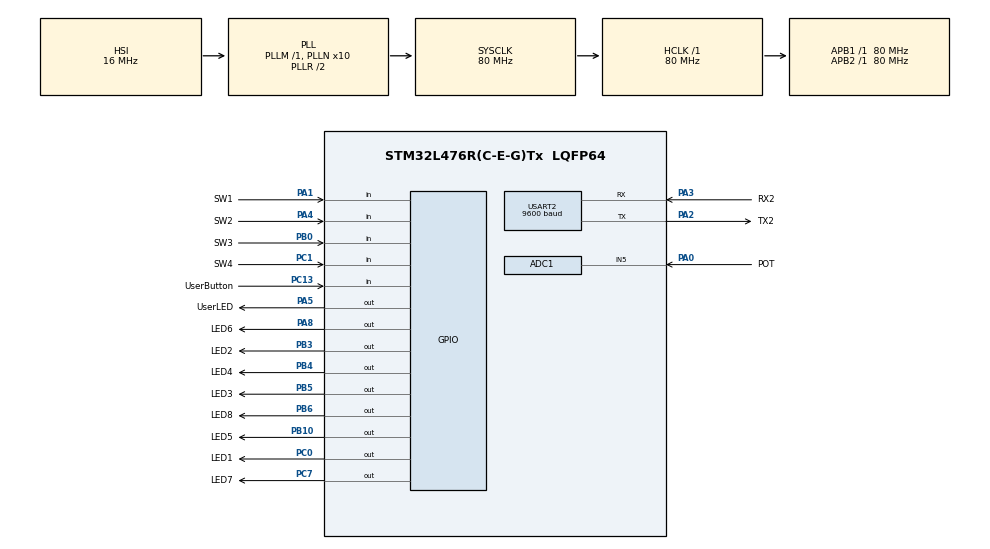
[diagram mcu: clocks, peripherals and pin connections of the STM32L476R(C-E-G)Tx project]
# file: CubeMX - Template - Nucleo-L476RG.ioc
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ADC1.Channel-0\#ChannelRegularConversion=ADC_CHANNEL_5
ADC1.NbrOfConversionFlag=1
ADC1.OffsetNumber-0\#ChannelRegularConversion=ADC_OFFSET_NONE
ADC1.Overrun=ADC_OVR_DATA_OVERWRITTEN
ADC1.Rank-0\#ChannelRegularConversion=1
ADC1.Resolution=ADC_RESOLUTION_12B
ADC1.SamplingTime-0\#ChannelRegularConversion=ADC_SAMPLETIME_2CYCLES_5
ADC1.master=1
FREERTOS.Mutexes01=usart2Mutex,Dynamic,NULL
FREERTOS.Tasks01=buttonReadThrea,8,128,ButtonRead,Default,NULL,Dynamic,NULL,NULL
FREERTOS.Timers01=softwareTimer,SoftwareTimerCallback,osTimerOnce,Default,NULL,Dynamic,NULL
FREERTOS.configUSE_NEWLIB_REENTRANT=0
Mcu.Family=STM32L4
Mcu.Name=STM32L476R(C-E-G)Tx
Mcu.Package=LQFP64
NVIC.PriorityGroup=NVIC_PRIORITYGROUP_4
NVIC.TIM6_DAC_IRQn=true\:15\:0\:false\:false\:true\:false\:false\:true\:true
NVIC.TimeBase=TIM6_DAC_IRQn
NVIC.TimeBaseIP=TIM6
PA0.GPIO_Label=POT
PA0.Signal=ADCx_IN5
PA1.GPIO_Label=SW1
PA1.Signal=GPIO_Input
PA13\ (JTMS-SWDIO).GPIO_Label=TMS
PA13\ (JTMS-SWDIO).Mode=Serial_Wire
PA13\ (JTMS-SWDIO).Signal=SYS_JTMS-SWDIO
PA14\ (JTCK-SWCLK).GPIO_Label=TCK
PA14\ (JTCK-SWCLK).Mode=Serial_Wire
PA14\ (JTCK-SWCLK).Signal=SYS_JTCK-SWCLK
PA2.GPIO_Label=TX2
PA2.GPIO_Mode=GPIO_MODE_AF_PP
PA2.GPIO_PuPd=GPIO_NOPULL
PA2.GPIO_Speed=GPIO_SPEED_FREQ_VERY_HIGH
PA2.Mode=Asynchronous
PA2.Signal=USART2_TX
PA3.GPIO_Label=RX2
PA3.GPIO_Mode=GPIO_MODE_AF_PP
PA3.GPIO_PuPd=GPIO_NOPULL
PA3.GPIO_Speed=GPIO_SPEED_FREQ_VERY_HIGH
PA3.Mode=Asynchronous
PA3.Signal=USART2_RX
PA4.GPIO_Label=SW2
PA4.Signal=GPIO_Input
PA5.GPIO_Label=UserLED
PA5.GPIO_ModeDefaultOutputPP=GPIO_MODE_OUTPUT_PP
PA5.GPIO_PuPd=GPIO_NOPULL
PA5.GPIO_Speed=GPIO_SPEED_FREQ_LOW
PA5.Signal=GPIO_Output
PA8.GPIO_Label=LED6
PA8.Signal=GPIO_Output
PB0.GPIO_Label=SW3
PB0.Signal=GPIO_Input
PB10.GPIO_Label=LED5
PB10.Signal=GPIO_Output
PB3\ (JTDO-TRACESWO).GPIO_Label=LED2
PB3\ (JTDO-TRACESWO).Signal=GPIO_Output
PB4\ (NJTRST).GPIO_Label=LED4
PB4\ (NJTRST).Signal=GPIO_Output
PB5.GPIO_Label=LED3
PB5.Signal=GPIO_Output
PB6.GPIO_Label=LED8
PB6.Signal=GPIO_Output
PC0.GPIO_Label=LED1
PC0.Signal=GPIO_Output
PC1.GPIO_Label=SW4
PC1.Signal=GPIO_Input
PC13.GPIO_Label=UserButton
PC13.Signal=GPIO_Input
PC7.GPIO_Label=LED7
PC7.Signal=GPIO_Output
ProjectManager.HeapSize=0x200
ProjectManager.StackSize=0x400
ProjectManager.TargetToolchain=Makefile
RCC.ADCFreq_Value=64000000
RCC.AHBFreq_Value=80000000
RCC.APB1Freq_Value=80000000
RCC.APB1TimFreq_Value=80000000
RCC.APB2Freq_Value=80000000
RCC.APB2TimFreq_Value=80000000
RCC.CortexFreq_Value=80000000
RCC.HCLKFreq_Value=80000000
RCC.HSE_VALUE=8000000
RCC.HSI_VALUE=16000000
RCC.LSE_VALUE=32768
RCC.MSI_VALUE=4000000
RCC.PLLN=10
RCC.PLLSourceVirtual=RCC_PLLSOURCE_HSI
RCC.PREFETCH_ENABLE=1
RCC.SYSCLKFreq_VALUE=80000000
RCC.SYSCLKSource=RCC_SYSCLKSOURCE_PLLCLK
RCC.USBFreq_Value=64000000
RCC.VCOOutputFreq_Value=160000000
SH.ADCx_IN5.0=ADC1_IN5,IN5-Single-Ended
USART2.BaudRate=9600
USART2.Mode=MODE_TX
USART2.OverrunDisableParam=ADVFEATURE_OVERRUN_DISABLE
USART2.VirtualMode-Asynchronous=VM_ASYNC
VP_FREERTOS_VS_CMSIS_V2.Mode=CMSIS_V2
VP_SYS_VS_tim6.Mode=TIM6
board=NUCLEO-L476RG

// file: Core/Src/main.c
/* USER CODE BEGIN Header */
/**
  ******************************************************************************
  * @file           : main.c
  * @brief          : Main program body
  ******************************************************************************
  * @attention
  *
  * Copyright (c) 2023 STMicroelectronics.
  * All rights reserved.
  *
  * This software is licensed under terms that can be found in the LICENSE file
  * in the root directory of this software component.
  * If no LICENSE file comes with this software, it is provided AS-IS.
  *
  ******************************************************************************
  */
	// Versie: 20252026
/* USER CODE END Header */
#include "main.h"
#include "cmsis_os.h"

/* USER CODE BEGIN Includes */
#include "leds.h"
#include "buttons.h"
#include "usart2.h"
#include "ad.h"
#include "stdio.h"
/* USER CODE END Includes */

ADC_HandleTypeDef hadc1;

UART_HandleTypeDef huart2;

/* Definitions for buttonReadThrea */
osThreadId_t buttonReadThreaHandle;
const osThreadAttr_t buttonReadThrea_attributes = {
  .name = "buttonReadThrea",
  .stack_size = 128 * 4,
  .priority = (osPriority_t) osPriorityLow,
};
/* Definitions for softwareTimer */
osTimerId_t softwareTimerHandle;
const osTimerAttr_t softwareTimer_attributes = {
  .name = "softwareTimer"
};
/* Definitions for usart2Mutex */
osMutexId_t usart2MutexHandle;
const osMutexAttr_t usart2Mutex_attributes = {
  .name = "usart2Mutex"
};

void SystemClock_Config(void);
static void MX_GPIO_Init(void);
static void MX_ADC1_Init(void);
static void MX_USART2_UART_Init(void);
void ButtonRead(void *argument);
void SoftwareTimerCallback(void *argument);

int main(void)
{

  /* MCU Configuration--------------------------------------------------------*/

  /* Reset of all peripherals, Initializes the Flash interface and the Systick. */
  HAL_Init();

  /* Configure the system clock */
  SystemClock_Config();

  /* Initialize all configured peripherals */
  MX_GPIO_Init();
  MX_ADC1_Init();
  MX_USART2_UART_Init();
  /* USER CODE BEGIN 2 */
	// Laten weten dat we opgestart zijn, via de USART2 (USB).
	printf("Reboot\r\n");
  /* USER CODE END 2 */

  /* Init scheduler */
  osKernelInitialize();
  /* Create the mutex(es) */
  /* creation of usart2Mutex */
  usart2MutexHandle = osMutexNew(&usart2Mutex_attributes);

  /* Create the timer(s) */
  /* creation of softwareTimer */
  softwareTimerHandle = osTimerNew(SoftwareTimerCallback, osTimerOnce, NULL, &softwareTimer_attributes);

  /* Create the thread(s) */
  /* creation of buttonReadThrea */
  buttonReadThreaHandle = osThreadNew(ButtonRead, NULL, &buttonReadThrea_attributes);

  /* Start scheduler */
  osKernelStart();

  /* We should never get here as control is now taken by the scheduler */

  /* Infinite loop */
  while (1)
  {

  }
}

void SystemClock_Config(void)
{
  RCC_OscInitTypeDef RCC_OscInitStruct = {0};
  RCC_ClkInitTypeDef RCC_ClkInitStruct = {0};

  /** Configure the main internal regulator output voltage
  */
  if (HAL_PWREx_ControlVoltageScaling(PWR_REGULATOR_VOLTAGE_SCALE1) != HAL_OK)
  {
    Error_Handler();
  }

  /** Initializes the RCC Oscillators according to the specified parameters
  * in the RCC_OscInitTypeDef structure.
  */
  RCC_OscInitStruct.OscillatorType = RCC_OSCILLATORTYPE_HSI;
  RCC_OscInitStruct.HSIState = RCC_HSI_ON;
  RCC_OscInitStruct.HSICalibrationValue = RCC_HSICALIBRATION_DEFAULT;
  RCC_OscInitStruct.PLL.PLLState = RCC_PLL_ON;
  RCC_OscInitStruct.PLL.PLLSource = RCC_PLLSOURCE_HSI;
  RCC_OscInitStruct.PLL.PLLM = 1;
  RCC_OscInitStruct.PLL.PLLN = 10;
  RCC_OscInitStruct.PLL.PLLP = RCC_PLLP_DIV7;
  RCC_OscInitStruct.PLL.PLLQ = RCC_PLLQ_DIV2;
  RCC_OscInitStruct.PLL.PLLR = RCC_PLLR_DIV2;
  if (HAL_RCC_OscConfig(&RCC_OscInitStruct) != HAL_OK)
  {
    Error_Handler();
  }

  /** Initializes the CPU, AHB and APB buses clocks
  */
  RCC_ClkInitStruct.ClockType = RCC_CLOCKTYPE_HCLK|RCC_CLOCKTYPE_SYSCLK
                              |RCC_CLOCKTYPE_PCLK1|RCC_CLOCKTYPE_PCLK2;
  RCC_ClkInitStruct.SYSCLKSource = RCC_SYSCLKSOURCE_PLLCLK;
  RCC_ClkInitStruct.AHBCLKDivider = RCC_SYSCLK_DIV1;
  RCC_ClkInitStruct.APB1CLKDivider = RCC_HCLK_DIV1;
  RCC_ClkInitStruct.APB2CLKDivider = RCC_HCLK_DIV1;

  if (HAL_RCC_ClockConfig(&RCC_ClkInitStruct, FLASH_LATENCY_4) != HAL_OK)
  {
    Error_Handler();
  }
}

static void MX_ADC1_Init(void)
{

  ADC_MultiModeTypeDef multimode = {0};
  ADC_ChannelConfTypeDef sConfig = {0};

  /** Common config
  */
  hadc1.Instance = ADC1;
  hadc1.Init.ClockPrescaler = ADC_CLOCK_ASYNC_DIV1;
  hadc1.Init.Resolution = ADC_RESOLUTION_12B;
  hadc1.Init.DataAlign = ADC_DATAALIGN_RIGHT;
  hadc1.Init.ScanConvMode = ADC_SCAN_DISABLE;
  hadc1.Init.EOCSelection = ADC_EOC_SINGLE_CONV;
  hadc1.Init.LowPowerAutoWait = DISABLE;
  hadc1.Init.ContinuousConvMode = DISABLE;
  hadc1.Init.NbrOfConversion = 1;
  hadc1.Init.DiscontinuousConvMode = DISABLE;
  hadc1.Init.ExternalTrigConv = ADC_SOFTWARE_START;
  hadc1.Init.ExternalTrigConvEdge = ADC_EXTERNALTRIGCONVEDGE_NONE;
  hadc1.Init.DMAContinuousRequests = DISABLE;
  hadc1.Init.Overrun = ADC_OVR_DATA_OVERWRITTEN;
  hadc1.Init.OversamplingMode = DISABLE;
  if (HAL_ADC_Init(&hadc1) != HAL_OK)
  {
    Error_Handler();
  }

  /** Configure the ADC multi-mode
  */
  multimode.Mode = ADC_MODE_INDEPENDENT;
  if (HAL_ADCEx_MultiModeConfigChannel(&hadc1, &multimode) != HAL_OK)
  {
    Error_Handler();
  }

  /** Configure Regular Channel
  */
  sConfig.Channel = ADC_CHANNEL_5;
  sConfig.Rank = ADC_REGULAR_RANK_1;
  sConfig.SamplingTime = ADC_SAMPLETIME_2CYCLES_5;
  sConfig.SingleDiff = ADC_SINGLE_ENDED;
  sConfig.OffsetNumber = ADC_OFFSET_NONE;
  sConfig.Offset = 0;
  if (HAL_ADC_ConfigChannel(&hadc1, &sConfig) != HAL_OK)
  {
    Error_Handler();
  }

}

static void MX_USART2_UART_Init(void)
{

  huart2.Instance = USART2;
  huart2.Init.BaudRate = 9600;
  huart2.Init.WordLength = UART_WORDLENGTH_8B;
  huart2.Init.StopBits = UART_STOPBITS_1;
  huart2.Init.Parity = UART_PARITY_NONE;
  huart2.Init.Mode = UART_MODE_TX;
  huart2.Init.HwFlowCtl = UART_HWCONTROL_NONE;
  huart2.Init.OverSampling = UART_OVERSAMPLING_16;
  huart2.Init.OneBitSampling = UART_ONE_BIT_SAMPLE_DISABLE;
  huart2.AdvancedInit.AdvFeatureInit = UART_ADVFEATURE_RXOVERRUNDISABLE_INIT;
  huart2.AdvancedInit.OverrunDisable = UART_ADVFEATURE_OVERRUN_DISABLE;
  if (HAL_UART_Init(&huart2) != HAL_OK)
  {
    Error_Handler();
  }

}

static void MX_GPIO_Init(void)
{
  GPIO_InitTypeDef GPIO_InitStruct = {0};

  /* GPIO Ports Clock Enable */
  __HAL_RCC_GPIOC_CLK_ENABLE();
  __HAL_RCC_GPIOA_CLK_ENABLE();
  __HAL_RCC_GPIOB_CLK_ENABLE();

  /*Configure GPIO pin Output Level */
  HAL_GPIO_WritePin(GPIOC, LED1_Pin|LED7_Pin, GPIO_PIN_RESET);

  /*Configure GPIO pin Output Level */
  HAL_GPIO_WritePin(GPIOA, UserLED_Pin|LED6_Pin, GPIO_PIN_RESET);

  /*Configure GPIO pin Output Level */
  HAL_GPIO_WritePin(GPIOB, LED5_Pin|LED2_Pin|LED4_Pin|LED3_Pin
                          |LED8_Pin, GPIO_PIN_RESET);

  /*Configure GPIO pins : UserButton_Pin SW4_Pin */
  GPIO_InitStruct.Pin = UserButton_Pin|SW4_Pin;
  GPIO_InitStruct.Mode = GPIO_MODE_INPUT;
  GPIO_InitStruct.Pull = GPIO_NOPULL;
  HAL_GPIO_Init(GPIOC, &GPIO_InitStruct);

  /*Configure GPIO pins : LED1_Pin LED7_Pin */
  GPIO_InitStruct.Pin = LED1_Pin|LED7_Pin;
  GPIO_InitStruct.Mode = GPIO_MODE_OUTPUT_PP;
  GPIO_InitStruct.Pull = GPIO_NOPULL;
  GPIO_InitStruct.Speed = GPIO_SPEED_FREQ_LOW;
  HAL_GPIO_Init(GPIOC, &GPIO_InitStruct);

  /*Configure GPIO pins : SW1_Pin SW2_Pin */
  GPIO_InitStruct.Pin = SW1_Pin|SW2_Pin;
  GPIO_InitStruct.Mode = GPIO_MODE_INPUT;
  GPIO_InitStruct.Pull = GPIO_NOPULL;
  HAL_GPIO_Init(GPIOA, &GPIO_InitStruct);

  /*Configure GPIO pins : UserLED_Pin LED6_Pin */
  GPIO_InitStruct.Pin = UserLED_Pin|LED6_Pin;
  GPIO_InitStruct.Mode = GPIO_MODE_OUTPUT_PP;
  GPIO_InitStruct.Pull = GPIO_NOPULL;
  GPIO_InitStruct.Speed = GPIO_SPEED_FREQ_LOW;
  HAL_GPIO_Init(GPIOA, &GPIO_InitStruct);

  /*Configure GPIO pin : SW3_Pin */
  GPIO_InitStruct.Pin = SW3_Pin;
  GPIO_InitStruct.Mode = GPIO_MODE_INPUT;
  GPIO_InitStruct.Pull = GPIO_NOPULL;
  HAL_GPIO_Init(SW3_GPIO_Port, &GPIO_InitStruct);

  /*Configure GPIO pins : LED5_Pin LED2_Pin LED4_Pin LED3_Pin
                           LED8_Pin */
  GPIO_InitStruct.Pin = LED5_Pin|LED2_Pin|LED4_Pin|LED3_Pin
                          |LED8_Pin;
  GPIO_InitStruct.Mode = GPIO_MODE_OUTPUT_PP;
  GPIO_InitStruct.Pull = GPIO_NOPULL;
  GPIO_InitStruct.Speed = GPIO_SPEED_FREQ_LOW;
  HAL_GPIO_Init(GPIOB, &GPIO_InitStruct);

}

void ButtonRead(void *argument)
{
  /* USER CODE BEGIN 5 */
	bool sw1Help = false;
	osStatus_t status;

  /* Infinite loop */
  for(;;)
  {
		// LED's inschakelen en software timer starten bij dalende flank.
		// OPM: een software timer starten vanuit een ISR geeft een error (osErrorISR).
		if(SW1Active() && (sw1Help == false))
		{
			sw1Help = true;

			// Alle LED's inschakelen.
			ByteToLeds(255);

			// Timer starten die 3 seconden loopt (one shot).
			status = osTimerStart(softwareTimerHandle, 3000);

			if(status == osOK)
			{
				// Melding geven (maar eest mutex opeisen).
				// OPM: dit zou ook kunnen met een binaire semafoor, maar dan heb je geen 'priority inheritance'
				// voor mocht het nodig zijn (kans op dead locks).
				osMutexAcquire(usart2MutexHandle, osWaitForever);
				printf("Software timer started.\r\n");
				osMutexRelease(usart2MutexHandle);
			}
		}

		if(!SW1Active())
			sw1Help = false;

		// Antidender vertraging.
    osDelay(10);
  }
  /* USER CODE END 5 */
}

/* SoftwareTimerCallback function */
void SoftwareTimerCallback(void *argument)
{
  /* USER CODE BEGIN SoftwareTimerCallback */
	// LED's terug uitschakelen (na 3 seconden).
	ByteToLeds(0);

	// Melding geven (maar eest mutex opeisen).
	osMutexAcquire(usart2MutexHandle, osWaitForever);
	printf("Software timer ended.\r\n");
	osMutexRelease(usart2MutexHandle);
  /* USER CODE END SoftwareTimerCallback */
}

void HAL_TIM_PeriodElapsedCallback(TIM_HandleTypeDef *htim)
{
  if (htim->Instance == TIM6)
  {
    HAL_IncTick();
  }
}

void Error_Handler(void)
{
  __disable_irq();
  while (1)
  {
  }
}
#ifdef USE_FULL_ASSERT
/**
  * @brief  Reports the name of the source file and the source line number
  *         where the assert_param error has occurred.
  * @param  file: pointer to the source file name
  * @param  line: assert_param error line source number
  * @retval None
  */
void assert_failed(uint8_t *file, uint32_t line)
{
  /* USER CODE BEGIN 6 */
  /* User can add his own implementation to report the file name and line number,
     ex: printf("Wrong parameters value: file %s on line %d\r\n", file, line) */
// Versie: 20252026
  /* USER CODE END 6 */
}
#endif /* USE_FULL_ASSERT */
